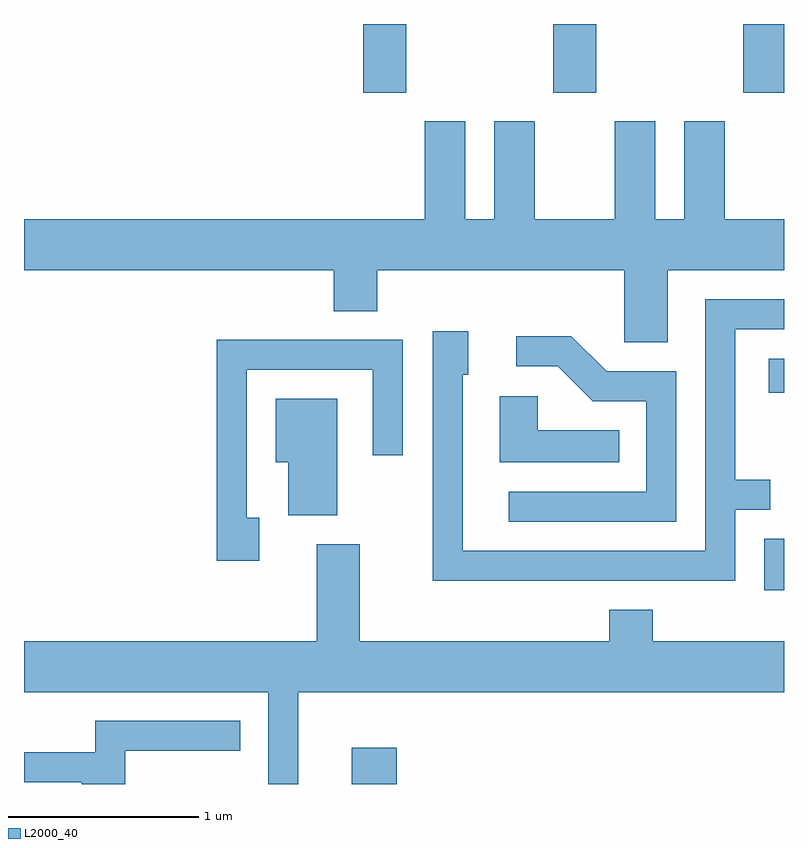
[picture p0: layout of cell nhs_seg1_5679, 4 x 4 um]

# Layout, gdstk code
import gdstk
lib = gdstk.Library(unit=1e-6, precision=1e-09)
def R(c, l, rs):  # rectangles x0, y0, x1, y1
    for r in rs: c.add(gdstk.rectangle(r[:2], r[2:], *l))
def P(c, l, *ps):  # polygons
    for p in ps: c.add(gdstk.Polygon(p, *l))
L2000_40 = (2000, 40)

nhs_seg1_5679 = lib.new_cell('nhs_seg1_5679')
R(nhs_seg1_5679, L2000_40, [(357.336,945.712,357.574,945.904), (359.506,946.733,359.611,947.004), (359.531,947.771,359.611,947.949), (357.396,949.351,357.624,949.712), (358.396,949.351,358.624,949.712), (359.396,949.351,359.611,949.712)])
P(nhs_seg1_5679, L2000_40, [(358.771,948.036),(358.999,948.036),(358.999,948.416),(359.611,948.416),(359.611,948.684),(359.299,948.684),(359.299,949.199),(359.086,949.199),(359.086,948.684),(358.934,948.684),(358.934,949.199),(358.721,949.199),(358.721,948.684),(358.299,948.684),(358.299,949.199),(358.086,949.199),(358.086,948.684),(357.934,948.684),(357.934,949.199),(357.721,949.199),(357.721,948.684),(355.611,948.684),(355.611,948.416),(357.241,948.416),(357.241,948.201),(357.469,948.201),(357.469,948.416),(358.771,948.416)],
  [(359.354,947.156),(359.538,947.156),(359.538,947.314),(359.354,947.314),(359.354,948.106),(359.611,948.106),(359.611,948.264),(359.196,948.264),(359.196,946.939),(357.919,946.939),(357.919,947.866),(357.949,947.866),(357.949,948.094),(357.761,948.094),(357.761,946.781),(359.354,946.781)],
  [(359.044,947.884),(358.677,947.884),(358.492,948.069),(358.203,948.069),(358.203,947.911),(358.419,947.911),(358.604,947.726),(358.886,947.726),(358.886,947.249),(358.163,947.249),(358.163,947.091),(359.044,947.091)],
  [(356.849,947.114),(356.784,947.114),(356.784,947.891),(357.446,947.891),(357.446,947.443),(357.604,947.443),(357.604,948.049),(356.626,948.049),(356.626,946.886),(356.849,946.886)],
  [(358.743,947.574),(358.314,947.574),(358.314,947.754),(358.116,947.754),(358.116,947.406),(358.743,947.406)],
  [(357.259,947.739),(356.936,947.739),(356.936,947.406),(357.001,947.406),(357.001,947.126),(357.259,947.126)],
  [(357.054,946.196),(359.611,946.196),(359.611,946.464),(358.919,946.464),(358.919,946.629),(358.691,946.629),(358.691,946.464),(357.379,946.464),(357.379,946.974),(357.151,946.974),(357.151,946.464),(355.611,946.464),(355.611,946.196),(356.896,946.196),(356.896,945.712),(357.054,945.712)],
  [(356.144,945.886),(356.748,945.886),(356.748,946.044),(355.986,946.044),(355.986,945.879),(355.611,945.879),(355.611,945.721),(355.916,945.721),(355.916,945.712),(356.144,945.712)])

lib.write_gds('nhs_seg1_5679.gds')
